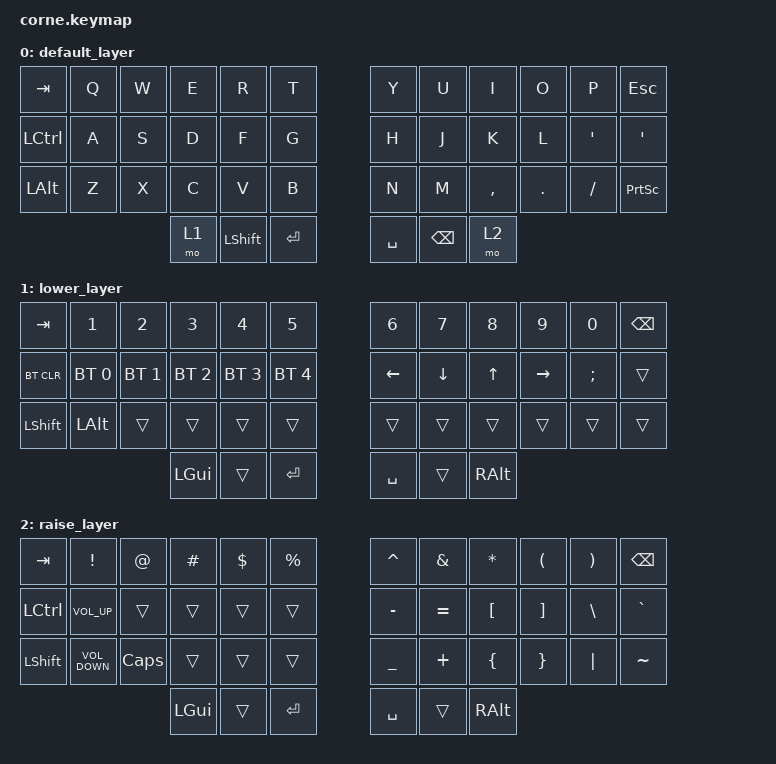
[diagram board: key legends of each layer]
/*
 * Copyright (c) 2020 The ZMK Contributors
 *
 * SPDX-License-Identifier: MIT
 */

#include <behaviors.dtsi>
#include <dt-bindings/zmk/bt.h>
#include <dt-bindings/zmk/keys.h>

/ {
    keymap {
        compatible = "zmk,keymap";

        default_layer {
            // -----------------------------------------------------------------------------------------
            // |  TAB |  Q  |  W  |  E  |  R  |  T  |   |  Y  |  U   |  I  |  O  |  P  | BKSP |
            // | CTRL |  A  |  S  |  D  |  F  |  G  |   |  H  |  J   |  K  |  L  |  ;  |  '   |
            // | SHFT |  Z  |  X  |  C  |  V  |  B  |   |  N  |  M   |  ,  |  .  |  /  | ESC  |
            //                    | GUI | LWR | SPC |   | ENT | RSE  | ALT |

            bindings = <
&kp TAB       &kp Q  &kp W  &kp E  &kp R           &kp T      &kp Y      &kp U          &kp I      &kp O    &kp P     &kp ESCAPE
&kp LCTRL     &kp A  &kp S  &kp D  &kp F           &kp G      &kp H      &kp J          &kp K      &kp L    &kp APOS  &kp SQT
&kp LEFT_ALT  &kp Z  &kp X  &kp C  &kp V           &kp B      &kp N      &kp M          &kp COMMA  &kp DOT  &kp FSLH  &kp PRINTSCREEN
                            &mo 1  &kp LEFT_SHIFT  &kp RET    &kp SPACE  &kp BACKSPACE  &mo 2
            >;
        };

        lower_layer {
            // -----------------------------------------------------------------------------------------
            // |  TAB |  1  |  2  |  3  |  4  |  5  |   |  6  |  7  |  8  |  9  |  0  | BKSP |
            // | BTCLR| BT1 | BT2 | BT3 | BT4 | BT5 |   | LFT | DWN |  UP | RGT |     |      |
            // | SHFT |     |     |     |     |     |   |     |     |     |     |     |      |
            //                    | GUI |     | SPC |   | ENT |     | ALT |

            bindings = <
&kp TAB     &kp N1        &kp N2        &kp N3        &kp N4        &kp N5          &kp N6     &kp N7    &kp N8    &kp N9     &kp N0    &kp BSPC
&bt BT_CLR  &bt BT_SEL 0  &bt BT_SEL 1  &bt BT_SEL 2  &bt BT_SEL 3  &bt BT_SEL 4    &kp LEFT   &kp DOWN  &kp UP    &kp RIGHT  &kp SEMI  &trans
&kp LSHFT   &kp LEFT_ALT  &trans        &trans        &trans        &trans          &trans     &trans    &trans    &trans     &trans    &trans
                                        &kp LGUI      &trans        &kp ENTER       &kp SPACE  &trans    &kp RALT
            >;
        };

        raise_layer {
            // -----------------------------------------------------------------------------------------
            // |  TAB |  !  |  @  |  #  |  $  |  %  |   |  ^  |  &  |  *  |  (  |  )  | BKSP |
            // | CTRL |     |     |     |     |     |   |  -  |  =  |  [  |  ]  |  \  |  `   |
            // | SHFT |     |     |     |     |     |   |  _  |  +  |  {  |  }  | "|" |  ~   |
            //                    | GUI |     | SPC |   | ENT |     | ALT |

            bindings = <
&kp TAB    &kp EXCL           &kp AT    &kp HASH  &kp DLLR  &kp PRCNT    &kp CARET  &kp AMPS   &kp STAR  &kp LPAR  &kp RPAR  &kp BSPC
&kp LCTRL  &kp K_VOL_UP       &trans    &trans    &trans    &trans       &kp MINUS  &kp EQUAL  &kp LBKT  &kp RBKT  &kp BSLH  &kp GRAVE
&kp LSHFT  &kp K_VOLUME_DOWN  &kp CLCK  &trans    &trans    &trans       &kp UNDER  &kp PLUS   &kp LBRC  &kp RBRC  &kp PIPE  &kp TILDE
                                        &kp LGUI  &trans    &kp ENTER    &kp SPACE  &trans     &kp RALT
            >;
        };
    };
};
